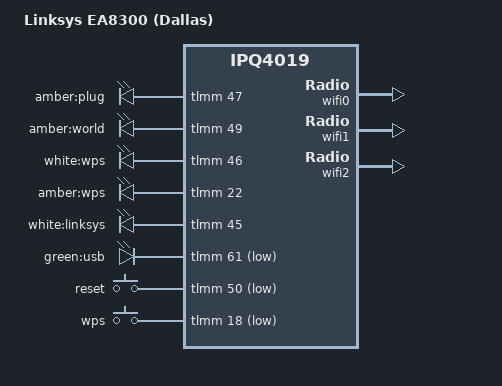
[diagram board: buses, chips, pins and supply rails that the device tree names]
// SPDX-License-Identifier: GPL-2.0-or-later OR MIT

#include "qcom-ipq4019-xx8300.dtsi"

/ {
	model = "Linksys EA8300 (Dallas)";
	compatible = "linksys,ea8300", "qcom,ipq4019";


	aliases {
		led-boot = &led_wps_amber;
		led-failsafe = &led_wps;
		led-running = &led_linksys;
		led-upgrade = &led_world;
		serial0 = &blsp1_uart1;
	};


	leds {
		compatible = "gpio-leds";

		// Retain node names from running OEM on EA8300

		// Front panel LEDs, top to bottom

		led_plug: diag {
			label = "amber:plug";
			gpios = <&tlmm 47 GPIO_ACTIVE_HIGH>;
		};

		led_world: internet {
			label = "amber:world";
			gpios = <&tlmm 49 GPIO_ACTIVE_HIGH>;
		};

		led_wps: wps {
			label = "white:wps";
			gpios = <&tlmm 46 GPIO_ACTIVE_HIGH>;
		};

		led_wps_amber: wps_amber {
			label = "amber:wps";
			gpios = <&tlmm 22 GPIO_ACTIVE_HIGH>;
			panic-indicator;
		};

		led_linksys: pwr {
			label = "white:linksys";
			gpios = <&tlmm 45 GPIO_ACTIVE_HIGH>;
		};

		// On back panel, above USB socket

		led_usb: usb {
			label = "green:usb";
			gpios = <&tlmm 61 GPIO_ACTIVE_LOW>;
			trigger-sources = <&usb3_port1>, <&usb3_port2>,
					  <&usb2_port1>;
			linux,default-trigger = "usbport";
		};
	};

	keys {
		compatible = "gpio-keys";

		reset {
			label = "reset";
			linux,code = <KEY_RESTART>;
			gpios = <&tlmm 50 GPIO_ACTIVE_LOW>;
		};

		wps {
			label = "wps";
			linux,code = <KEY_WPS_BUTTON>;
			gpios = <&tlmm 18 GPIO_ACTIVE_LOW>;
		};
	};
};

&wifi0 {
	status = "okay";
	qcom,ath10k-calibration-variant = "linksys-ea8300-fcc";
};

&wifi1 {
	status = "okay";
	ieee80211-freq-limit = <5170000 5330000>;
	qcom,ath10k-calibration-variant = "linksys-ea8300-fcc";
};

&wifi2 {
	status = "okay";
	ieee80211-freq-limit = <5490000 5835000>;
	qcom,ath10k-calibration-variant = "linksys-ea8300-fcc";
};
